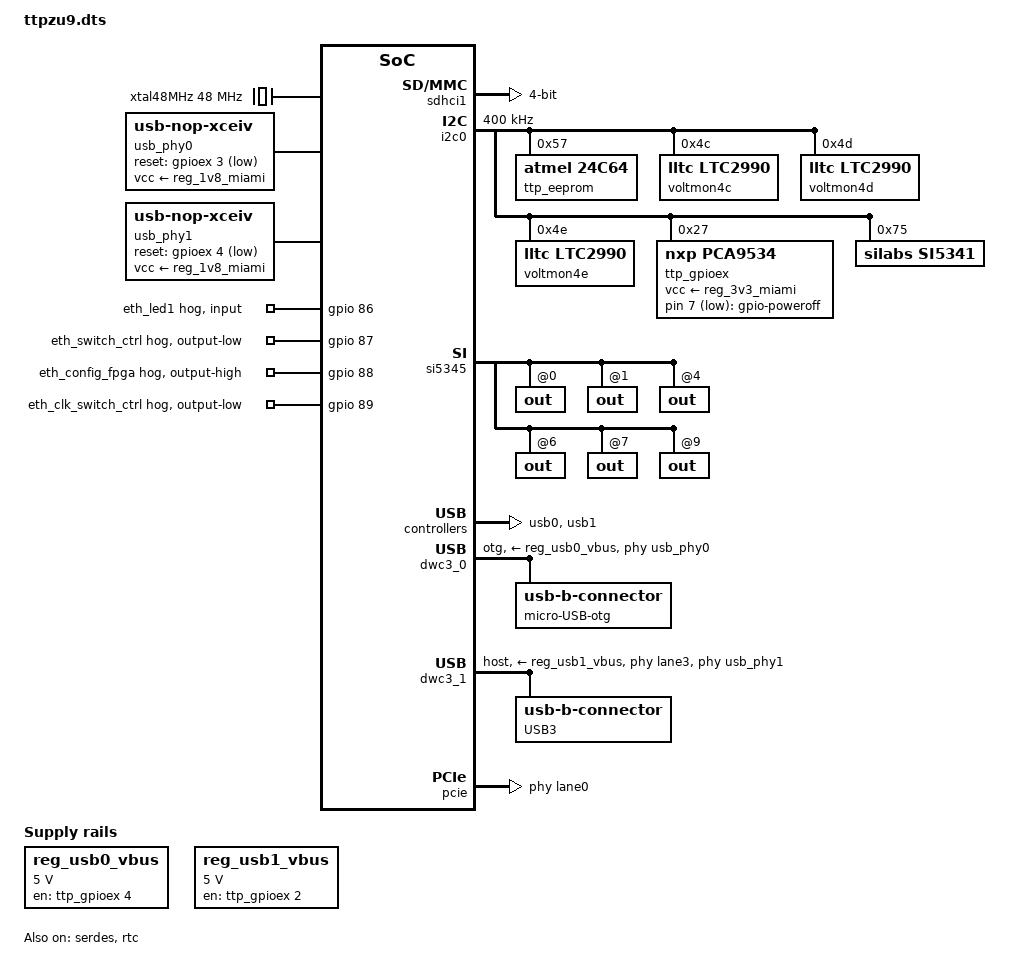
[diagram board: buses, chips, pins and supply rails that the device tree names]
/*
 * dts file for ttpzu9 (Topic Testboard Plus) board without PL
 *
 * (C) Copyright 2020, Topic Embedded Products BV
 *
 * This program is free software; you can redistribute it and/or
 * modify it under the terms of the GNU General Public License as
 * published by the Free Software Foundation; either version 2 of
 * the License, or (at your option) any later version.
 */

#include "zynqmp-topic-miamiplusmp.dts"

/ {
	/* XTAL for Si5341 */
	xtal48MHz: xtal_48_clock {
		compatible = "fixed-clock";
		#clock-cells = <0x0>;
		clock-frequency = <48000000>;
	};

	gpio-poweroff {
		compatible = "gpio-poweroff";
		gpios = <&ttp_gpioex 7 GPIO_ACTIVE_LOW>;
		force-pm-power-off; /* Replace the PSCI power-off callback */
	};

	/* Regulator for the 5V USB VBUS power line. */
	reg_usb0_vbus: regulator_usb0 {
		compatible = "regulator-fixed";
		regulator-name = "usb0-vbus";
		regulator-min-microvolt = <5000000>;
		regulator-max-microvolt = <5000000>;
		gpio = <&ttp_gpioex 4 GPIO_ACTIVE_HIGH>;
		enable-active-high;
	};
	reg_usb1_vbus: regulator_usb1 {
		compatible = "regulator-fixed";
		regulator-name = "usb1-vbus";
		regulator-min-microvolt = <5000000>;
		regulator-max-microvolt = <5000000>;
		gpio = <&ttp_gpioex 2 GPIO_ACTIVE_HIGH>;
		enable-active-high;
	};

	/* USB PHY reset IO pin */
	usb_phy0: usb2phy0 {
		compatible = "usb-nop-xceiv";
		vcc-supply = <&reg_1v8_miami>;
		#phy-cells = <0>;
		reset-gpios = <&gpioex 3 GPIO_ACTIVE_LOW>;
	};
	usb_phy1: usb2phy1 {
		compatible = "usb-nop-xceiv";
		vcc-supply = <&reg_1v8_miami>;
		#phy-cells = <0>;
		reset-gpios = <&gpioex 4 GPIO_ACTIVE_LOW>;
	};
};

/* SD1 */
&sdhci1 {
	status = "okay";
	bus-width = <4>;
	xlnx,mio_bank = <1>;
	no-1-8-v; /* No UHS capability, 3v3 only */
	disable-wp;
};

&i2c0 {
	status = "okay";
	clock-frequency = <400000>;

	/* EEPROM */
	ttp_eeprom: eeprom@57 {
		compatible = "atmel,24c64";
		reg = <0x57>;
		pagesize = <32>;
		#address-cells = <1>;
		#size-cells = <1>;
	};

	/* Voltage monitoring chips */
	voltmon4c: ltc2990@4c {
		compatible = "lltc,ltc2990";
		reg = <0x4c>;
		lltc,meas-mode = <7 3>; /* Voltage mode */
	};
	voltmon4d: ltc2990@4d {
		compatible = "lltc,ltc2990";
		reg = <0x4d>;
		lltc,meas-mode = <7 3>; /* Voltage mode */
	};
	voltmon4e: ltc2990@4e {
		compatible = "lltc,ltc2990";
		reg = <0x4e>;
		lltc,meas-mode = <7 3>; /* Voltage mode */
	};

	/* GPIO expander */
	ttp_gpioex: pca9534@27 {
		compatible = "nxp,pca9534";
		reg = <0x27>;
		vcc-supply = <&reg_3v3_miami>;
		gpio-line-names = "USB_HOST_OC_N", "SOM_RST_N_MIAM", "USB_HOST_EN", "VBAT_EN", "USB_OTG_EN", "USB_OTG_OC_N", "PEWAKE0", "N_PWR_KILL";
		gpio-controller;
		#gpio-cells = <2>;
	};

	/* Programmable clock */
	si5341: si5341@75 {
		reg = <0x75>;
		compatible = "silabs,si5341";
		#clock-cells = <2>;
		#address-cells = <1>;
		#size-cells = <0>;
		clocks = <&xtal48MHz>;
		clock-names = "xtal";

		silabs,pll-m-num = <13600>; /* PLL at 13.6 GHz */
		silabs,pll-m-den = <48>;
		silabs,reprogram; /* Chips are not programmed, always reset */

		assigned-clocks = <&si5341 1 0>,
				  <&si5341 1 1>,
				  <&si5341 1 2>,
				  <&si5341 1 3>,
				  <&si5341 1 4>,
				  <&si5341 0 0>,
				  <&si5341 0 1>,
				  <&si5341 0 2>,
				  <&si5341 0 3>,
				  <&si5341 0 4>,
				  <&si5341 0 5>,
				  <&si5341 0 6>,
				  <&si5341 0 7>,
				  <&si5341 0 8>,
				  <&si5341 0 9>;
		assigned-clock-parents = <0>, <0>, <0>, <0>, <0>,
					<&si5341 1 0>,
					<&si5341 1 0>,
					<&si5341 1 0>,
					<&si5341 1 0>,
					<&si5341 1 0>,
					<&si5341 1 0>,
					<&si5341 1 0>,
					<&si5341 1 0>,
					<&si5341 1 0>,
					<&si5341 1 0>;
		assigned-clock-rates =	<400000000>, /* synth 0 */
					<0>,
					<0>,
					<0>,
					<0>,
					<100000000>, /* out 0 */
					<100000000>,
					<100000000>,
					<100000000>,
					<100000000>,
					< 25000000>, /* out 5 */
					<100000000>,
					<100000000>,
					<100000000>,
					<100000000>;

		out@0 {
			reg = <0>;
			silabs,format = <1>; /* LVDS 1v8 */
			silabs,common-mode = <13>;
			silabs,amplitude = <3>;
			always-on;
		};

		out@1 {
			reg = <1>;
			silabs,format = <1>; /* LVDS 1v8 */
			silabs,common-mode = <13>;
			silabs,amplitude = <3>;
			always-on;
		};

		out@2 {
			reg = <2>;
			silabs,format = <1>; /* LVDS 1v8 */
			silabs,common-mode = <13>;
			silabs,amplitude = <3>;
			always-on;
		};

		out@3 {
			reg = <3>;
			silabs,format = <1>; /* LVDS 1v8 */
			silabs,common-mode = <13>;
			silabs,amplitude = <3>;
			always-on;
		};

		out@4 {
			reg = <4>;
			silabs,format = <2>; /* HCSL 1v8 (?) */
			silabs,common-mode = <13>;
			silabs,amplitude = <3>;
			always-on;
		};

		out@5 {
			reg = <5>;
			silabs,format = <4>; /* CMOS */
			silabs,common-mode = <3>; /* TODO: Correct values... */
			silabs,amplitude = <3>; /* TODO: Correct values... */
		};

		out@6 {
			reg = <6>;
			silabs,format = <1>; /* LVDS 3v3 */
			silabs,common-mode = <3>;
			silabs,amplitude = <3>;
		};

		out@7 {
			reg = <7>;
			silabs,format = <1>; /* LVDS 3v3 */
			silabs,common-mode = <3>;
			silabs,amplitude = <3>;
		};
	};
};

&si5345 {
	out@0 {
		always-on;
	};
	out@1 {
		always-on;
	};
	out@4 {
		always-on;
	};
	out@6 {
		always-on;
	};
	out@7 {
		always-on;
	};
	out@9 {
		always-on;
	};
};

&usb0 {
	status = "okay";
	/* see: https://forums.xilinx.com/t5/Embedded-Linux/Zynqmp-USB2-0/td-p/790522/page/2 */
	/delete-property/ clocks;
	/delete-property/ clock-names;
	clocks = <&zynqmp_clk USB0_BUS_REF>;
	clock-names = "bus_clk";
};

&uart1 {
	status = "disabled";
};

&dwc3_0 {
	status = "okay";
	dr_mode = "otg"; /* "host", "peripheral" or "otg" */
	maximum-speed = "high-speed"; /* super-speed not available on carrier */
	/* see: https://forums.xilinx.com/t5/Embedded-Linux/Zynqmp-USB2-0/td-p/790522/page/2 */
	snps,dis_u2_susphy_quirk;
	snps,dis_u3_susphy_quirk;
	/delete-property/ phy-names;
	/delete-property/ phys;
	/delete-property/ snps,usb3_lpm_capable;
	usb-phy = <&usb_phy0>;
	vbus-supply = <&reg_usb0_vbus>;
	connector {
		compatible = "usb-b-connector";
		label = "micro-USB-otg";
		type = "micro";
	};
};

&usb1 {
	status = "okay";
};

&dwc3_1 {
	status = "okay";
	dr_mode = "host";
	/* refclk for USB3 from clock synth */
	assigned-clocks      = <&si5345 0 8>;
	assigned-clock-rates = <100000000>;
	phy-names = "usb3-phy";
	phys = <&lane3 PHY_TYPE_USB3 1 3 100000000>;
	maximum-speed = "super-speed";
	snps,usb3_lpm_capable;
	usb-phy = <&usb_phy1>;
	vbus-supply = <&reg_usb1_vbus>;
	connector {
		compatible = "usb-b-connector";
		label = "USB3";
	};
};

&pcie {
	status = "okay";
	phys = <&lane0 PHY_TYPE_PCIE 0 0 100000000>,
	       <&lane1 PHY_TYPE_PCIE 1 0 100000000>;
	/* refclk0 from clock synth, GTR clock and M2 clock */
	assigned-clocks      = <&si5345 0 0>, <&si5341 0 4>;
	assigned-clock-rates =   <100000000>,   <100000000>;
};

&gpio {
	eth-led1 {
		gpio-hog;
		gpios = <86 0>; /* EMIO 8 */
		input;
		line-name = "eth_led1";
	};
	eth-switch-ctrl {
		gpio-hog;
		gpios = <87 0>; /* EMIO 9 */
		output-low;
		line-name = "eth_switch_ctrl";
	};
	eth-config-fpga {
		gpio-hog;
		gpios = <88 0>; /* EMIO 10 */
		output-high;
		line-name = "eth_config_fpga";
	};
	eth-clk-switch-ctrl {
		gpio-hog;
		gpios = <89 0>; /* EMIO 11 */
		output-low;
		line-name = "eth_clk_switch_ctrl";
	};
};

&serdes {
	status = "okay";
};

/* Postpone ethernet until after FPGA programming to workaround "spike" on IO pads issue */
&gem2 {
	status = "disabled";
};

/* Carrier provides VBAT for RTC */
&rtc {
	status = "okay";
};
